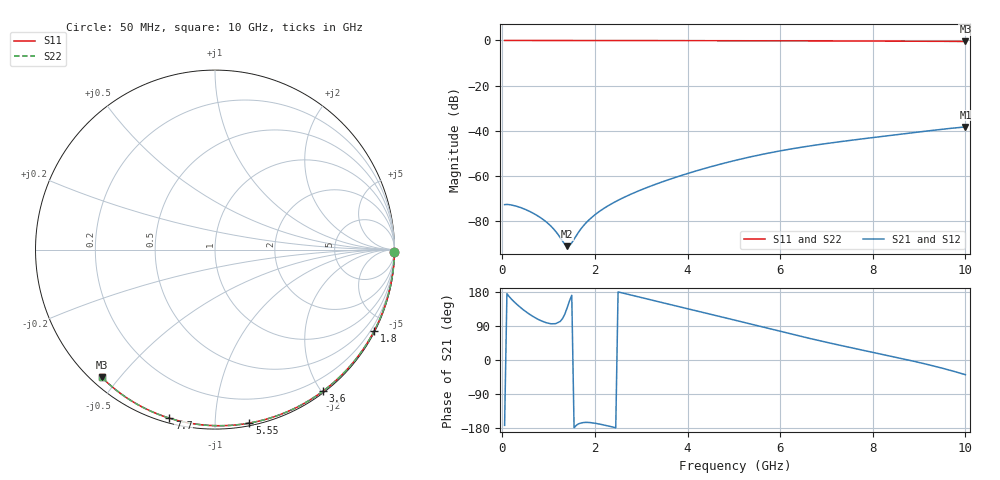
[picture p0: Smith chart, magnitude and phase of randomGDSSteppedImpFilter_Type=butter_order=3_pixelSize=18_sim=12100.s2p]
! freq	dB(S11)	phase(S11)	dB(S12)	phase(S12)
!  dB(S21)	phase(S21)	dB(S22)	phase(S22)
!S-par simulation data
#  GHz  S  DB  R 50
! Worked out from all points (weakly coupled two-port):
!   200 points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, 50 MHz to 10 GHz, reference 50 ohm
!   highest |S21| = -38.32 dB at 10 GHz (marker M1); lowest = -91.2 dB at 1.4 GHz (marker M2)
!   lowest |S11| = -0.4 dB at 10 GHz (marker M3), VSWR 39.14, Z = 1.54 - j22.5 ohm
!   |S11| at or under -10 dB: nowhere
!   |S22| runs from -0.4 to 0.0 dB; largest |S21 - S12| = 0
!   S11 on the Smith chart (normalised r, x): 50 MHz: open; 1.8 GHz: 0.04, -4.17; 3.6 GHz: 0.02, -2.02; 5.55 GHz: 0.02, -1.22; 7.7 GHz: 0.02, -0.76; 10 GHz: 0.03, -0.45
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0.05  -0.00 -0.8  -72.76 -172.4  -72.76 -172.4  -0.00 -0.8
0.2  -0.00 -3.0  -72.93 160.4  -72.93 160.4  -0.00 -3.0
0.45  -0.01 -6.8  -74.47 132.9  -74.47 132.9  -0.01 -6.8
0.65  -0.01 -9.9  -76.38 115.8  -76.38 115.8  -0.01 -9.9
0.9  -0.02 -13.6  -79.62 100.5  -79.62 100.5  -0.02 -13.6
0.95  -0.02 -14.4  -80.43 98.4  -80.43 98.4  -0.02 -14.4
1.4  -0.03 -21.1  -91.16 137.5  -91.16 137.5  -0.03 -21.1
1.75  -0.03 -26.2  -82.17 -165.1  -82.17 -165.1  -0.03 -26.2
1.8  -0.03 -27.0  -81.02 -164.6  -81.02 -164.6  -0.03 -27.0
1.85  -0.04 -27.7  -79.96 -164.7  -79.96 -164.7  -0.04 -27.7
2.1  -0.04 -31.4  -75.72 -169.1  -75.72 -169.1  -0.04 -31.4
2.45  -0.05 -36.4  -71.36 -178.8  -71.36 -178.8  -0.05 -36.4
2.85  -0.05 -42.2  -67.47 169.2  -67.47 169.2  -0.05 -42.2
3.4  -0.07 -49.9  -63.06 152.9  -63.06 152.9  -0.07 -49.9
3.6  -0.07 -52.7  -61.63 147.1  -61.63 147.1  -0.07 -52.7
4.3  -0.09 -62.3  -57.13 126.6  -57.13 126.6  -0.09 -62.3
5.05  -0.11 -72.3  -53.05 104.2  -53.05 104.2  -0.11 -72.3
5.55  -0.13 -78.8  -50.74 89.1  -50.74 89.1  -0.13 -78.8
6.7  -0.18 -93.2  -46.56 55.2  -46.56 55.2  -0.18 -93.2
7.7  -0.24 -105.2  -43.80 28.0  -43.80 28.0  -0.24 -105.2
8.35  -0.28 -112.7  -42.16 11.1  -42.16 11.1  -0.28 -112.7
10  -0.44 -131.6  -38.32 -38.8  -38.32 -38.8  -0.44 -131.6
